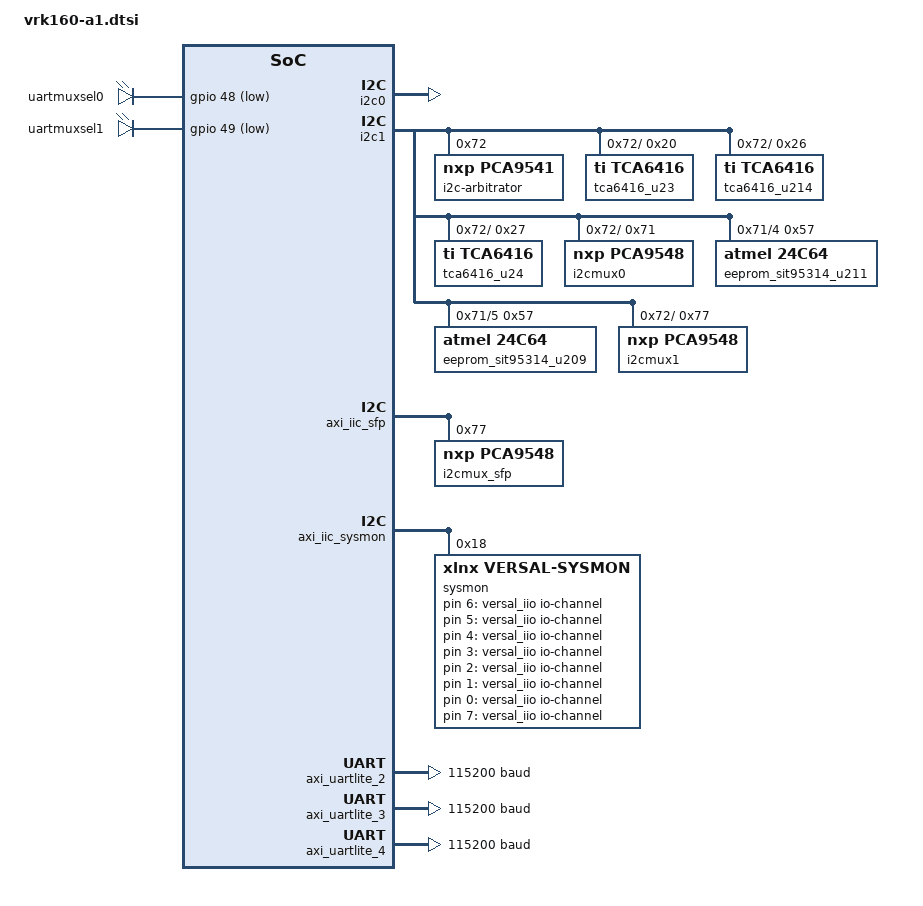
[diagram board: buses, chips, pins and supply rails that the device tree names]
// SPDX-License-Identifier: GPL-2.0
/*
 * dts file for SC on VRK160 revA (k24)
 *
 * (C) Copyright 2025, Advanced Micro Devices, Inc.
 *
 * Michal Simek <michal.simek@amd.com>
 */

/dts-v1/;
/plugin/;

&{/} {
    compatible = "xlnx,zynqmp-sc-vrk160-revA",
    	     "xlnx,zynqmp-sc-vrk160", "xlnx,zynqmp";
    model = "ZynqMP SC VRK160 revA";

	versal_iio: versal {
		compatible = "iio-hwmon";
		io-channels = <&sysmon 6>, <&sysmon 5>, <&sysmon 4>,
			      <&sysmon 3>, <&sysmon 2>, <&sysmon 1>,
			      <&sysmon 0>, <&sysmon 7>, <&sysmon 8>;
	};

	leds-um {
		compatible = "gpio-leds";
		um0-led {
			label = "uartmuxsel0";
			gpios = <&gpio 48 1>;
			default-state = "off";
		};

		um1-led {
			label = "uartmuxsel1";
			gpios = <&gpio 49 1>;
			default-state = "off";
		};
	};
};

&i2c0 { /* I2C_SCK C23/C24 - MIO 66/67 */
    status = "okay";
    /* board_i2c0 */
};

&i2c1 { /* I2C_SCK C23/C24 - MIO from SOM */
    #address-cells = <1>;
    #size-cells = <0>;

    i2c-arbitrator@72 { /* u18 */
    	compatible = "nxp,pca9541";
    	reg = <0x72>;

    	i2c-arb {
    		#address-cells = <1>;
    		#size-cells = <0>;
    		/* board_i2c1 */

    		tca6416_u23: gpio@20 { /* u23 */
    			compatible = "ti,tca6416";
    			reg = <0x20>;
    			gpio-controller; /* interrupt on MIO69 */
    			#gpio-cells = <2>;
    			gpio-line-names = "SFP_04_TX_FAULT", "SFP_04_RX_LOS", "SFP_04_MOD_ABS", "SFP_04_TX_DISABLE", /* 0 - 3 */
    					"SFP_04_RS0", "SFP_04_RS1", "", "", /* 4 - 7 */
    					"FMCP1_FMC_PRSNT_M2C_B", "FMCP1_FMCP_PRSNT_M2C_B", "PMBUS4_INA_ALERT", "PMBUS3_INA_ALERT", /* 10 - 13 */
    					"PMBUS2_INA_ALERT", "PMBUS1_INA_ALERT", "PMBUS1_NIRQ", "PMBUS1_ALERT"; /* 14 - 17 */
    		};

    		tca6416_u214: gpio@26 { /* u214 */
    			compatible = "ti,tca6416";
    			reg = <0x26>;
    			gpio-controller; /* interrupt on MIO69 */
    			#gpio-cells = <2>;
    			gpio-line-names = "SFP_02_TX_FAULT", "SFP_02_RX_LOS", "SFP_02_MOD_ABS", "SFP_02_TX_DISABLE", /* 0 - 3 */
    					"SFP_02_RS0", "SFP_02_RS1", "", "", /* 4 - 7 */
    					"SFP_03_TX_FAULT", "SFP_03_RX_LOS", "SFP_03_MOD_ABS", "SFP_03_TX_DISABLE", /* 10 - 13 */
    					"SFP_03_RS0", "SFP_03_RS1", "", ""; /* 14 - 17 */
    		};

    		tca6416_u24: gpio@27 { /* u24 */
    			compatible = "ti,tca6416";
    			reg = <0x27>;
    			gpio-controller; /* interrupt on MIO69 */
    			#gpio-cells = <2>;
    			gpio-line-names = "QSFP1_MODSELL", "QSFP1_RESETL", "QSFP1_MODPRSL", "QSFP1_INTL", /* 0 - 3 */
    					"QSFP1_LPMODE", "", "", "", /* 4 - 7 */
    					"SFP_01_TX_FAULT", "SFP_01_RX_LOS", "SFP_01_MOD_ABS", "SFP_01_TX_DISABLE", /* 10 - 13 */
    					"SFP_01_RS0", "SFP_01_RS1", "", ""; /* 14 - 17 */
    		};

    		i2cmux0: i2c-mux@71 { /* u162 */
    			compatible = "nxp,pca9548";
    			#address-cells = <1>;
    			#size-cells = <0>;
    			reg = <0x71>;
                i2c-mux-idle-disconnect;
    			i2cmux0_0: i2c@0 {
    				#address-cells = <1>;
    				#size-cells = <0>;
    				reg = <0>;
    				/* pmbus1 */
    				/* J3 connector */
    				/* u136 mpq2283 0x12 */
    				/* u146 mpq2283 0x1a */
    				/* u148 mpq2283 0x1c */
    				/* u143 mpq2285 0x1d */
    				/* u55 mpq72963 0x22 */
    				/* u31 mpq72963 0x23 */
    				/* u46 mpq72963 0x24 */
    				/* u167 ucd90320 0x77 */
    			};
    			i2cmux0_1: i2c@1 {
    				#address-cells = <1>;
    				#size-cells = <0>;
    				reg = <1>;
    				/* pmbus2 */
    				/* J4 connector */
    				/* u142 mpq2283 0x1 */
    				/* u149 mpq2285 0x2 */
    				/* u151 mpq2283 0x3 */
    				/* u152 mpq2283 0x4 */
    				/* u134 mpq2283 0x1e */
    				/* u135 mpq2283 0x1f */
    				/* u137 mpq2283 0x13 */
    				/* u138 mpq2283 0x14 */
    				/* u139 mpq2283 0x16 */
    				/* u140 mpq2283 0x17 */
    				/* u141 mpq2283 0x18 */
    				/* u145 mpq2283 0x19 */
    				/* u147 mpq2283 0x1b */
    				/* u6 mp54522 61 */
    				/* u7 mp54522 62 */
    				/* u8 mp54322 63 */
    				/* u9 mp54322 64 */
    			};
    			i2cmux0_2: i2c@2 {
    				#address-cells = <1>;
    				#size-cells = <0>;
    				reg = <2>;
    				/* pmbus1_ina */
    				/* u42 ina745a 0x40 vccint_gt_bus */
    				/* u57 ina745a 0x41 vcc_soc_bus */
    				/* u45 ina745a 0x44 lp5_vcco_1v0 */
    				/* u153 ina700a 0x45 vccaux_pmc */
    				/* u154 ina700a 0x46 vcco_50x */
    				/* u155 ina700a 0x47 vcco_io */
    				/* u37 ina745a 0x48 vccint_bus1 */
    				/* u39 ina745a 0x49 vccint_bus2 */
    				/* u38 ina745a 0x4a vccint_bus3 */
    				/* u40 ina745a 0x4b vccint_bus4 */
    				/* u41 ina745a 0x4C vccint_bus5 */
    			};
    			i2cmux0_3: i2c@3 {
    				#address-cells = <1>;
    				#size-cells = <0>;
    				reg = <3>;
    				/* pmbus2_ina */
    				/* u156 ina700a 0x44 vcc_pmc */
    				/* u157 ina700a 0x45 vcc_ram */
    				/* u157 ina700a 0x46 vccaux */
    				/* u150 ina700a 0x47 vadj_fmc */
    				/* u49 ina745a 0x48 vcc_aie_bus1 */
    				/* u50 ina745a 0x49 vcc_aie_bus2 */
    			};
    			i2cmux0_4: i2c@4 {
    				#address-cells = <1>;
    				#size-cells = <0>;
    				reg = <4>;
    				/* clkgen_sit95314_2 */
    				/* u211 sit95314 0x69 - 4 outputs */

    				eeprom_u212: eeprom@57 { /* also at 0x5f */
    					compatible = "atmel,24c64";
    					label = "eeprom_sit95314_u211";
    					reg = <0x57>;
    				};
    			};
    			i2cmux0_5: i2c@5 {
    				#address-cells = <1>;
    				#size-cells = <0>;
    				reg = <5>;
    				/* clkgen_sit95314_1 */
    				/* u209 sit95314 0x69 - 4 outputs */
    				eeprom_u210: eeprom@57 { /* also at 0x5f */
    					compatible = "atmel,24c64";
    					label = "eeprom_sit95314_u209";
    					reg = <0x57>;
    				};
    			};
    			i2cmux0_6: i2c@6 {
    				#address-cells = <1>;
    				#size-cells = <0>;
    				reg = <6>;
    				/* pmbus3_ina */
    				/* u203 ina700a 0x43 adc_avcc */
    				/* u159 ina700a 0x44 vcco_302 */
    				/* u160 ina700a 0x45 gtyp1_avccaux */
    				/* u144 ina700a 0x46 gtyp_avtt */
    				/* u133 ina700a 0x47 vcc_psfp */
    			};
    			i2cmux0_7: i2c@7 {
    				#address-cells = <1>;
    				#size-cells = <0>;
    				reg = <7>;
    				/* pmbus4_ina */
    				/* u131 ina700a 0x44 vcc_pslp */
    				/* u52 ina700a 0x45 gtm_avtt */
    				/* u54 ina700a 0x46 gtm_avcc */
    			};
    		};

    		i2cmux1: i2c-mux@77 { /* u20 */
    			compatible = "nxp,pca9548";
    			#address-cells = <1>;
    			#size-cells = <0>;
    			reg = <0x77>;
                i2c-mux-idle-disconnect;
    			i2cmux1_2: i2c@2 {
    				#address-cells = <1>;
    				#size-cells = <0>;
    				reg = <2>;
    				/* pmbus5_ina */
    				/* u228 ina700a 0x46 dac_avccaux */
    				/* u229 ina700a 0x47 adc_avccaux */
    			};
    			i2cmux1_3: i2c@3 {
    				#address-cells = <1>;
    				#size-cells = <0>;
    				reg = <3>;
    				/* pmbus6_ina */
    				/* u230 ina700a 0x44 gtm_avccaux */
    				/* u231 ina700a 0x45 dac_avtt */
    				/* u232 ina700a 0x46 gtyp_avcc */
    				/* u233 ina700a 0x47 vcco_x5io */
    			};
    			i2cmux1_4: i2c@4 {
    				#address-cells = <1>;
    				#size-cells = <0>;
    				reg = <4>;
    				/* nc */
    			};
    		};
    	};
    };
};

&zynqmp_dpsub {
    status = "disabled";
};

&fpga_full {
        firmware-name = "vrk160-a2.bin";
        resets = <&zynqmp_reset 116>;
        clocking0: clocking0 {
                #clock-cells = <0>;
                clock-frequency = <99999999>;
                assigned-clocks = <&zynqmp_clk 71>;
                clock-output-names = "fabric_clk";
                clocks = <&zynqmp_clk 71>;
                compatible = "xlnx,fclk";
        };
        afi0: afi0 {
                compatible = "xlnx,afi-fpga";
                config-afi = < 0 0>, <1 0>, <2 0>, <3 0>, <4 0>, <5 0>, <6 0>, <7 0>, <8 0>, <9 0>, <10 0>, <11 0>, <12 0>, <13 0>, <14 0xa00>, <15 0x000>;
                resets = <&zynqmp_reset 116>, <&zynqmp_reset 117>, <&zynqmp_reset 118>, <&zynqmp_reset 119>;
        };
};

&amba {
        #address-cells = <2>;
        #size-cells = <2>;
        axi_gpio_0: gpio@80020000 {
                #gpio-cells = <2>;
                #interrupt-cells = <2>;
                clock-names = "s_axi_aclk";
                clocks = <&zynqmp_clk 71>;
                compatible = "xlnx,axi-gpio-2.0", "xlnx,xps-gpio-1.00.a";
                gpio-controller ;
                interrupt-controller ;
                interrupt-names = "ip2intc_irpt";
                interrupt-parent = <&gic>;
                interrupts = <0 94 4>;
                reg = <0x0 0x80020000 0x0 0x10000>;
                xlnx,all-inputs = <0x0>;
                xlnx,all-inputs-2 = <0x0>;
                xlnx,all-outputs = <0x0>;
                xlnx,all-outputs-2 = <0x0>;
                xlnx,dout-default = <0x00000000>;
                xlnx,dout-default-2 = <0x00000000>;
                xlnx,gpio-width = <0x13>;
                xlnx,gpio2-width = <0x20>;
                xlnx,interrupt-present = <0x1>;
                xlnx,is-dual = <0x0>;
                xlnx,tri-default = <0xFFFFFFFF>;
                xlnx,tri-default-2 = <0xFFFFFFFF>;
                gpio-line-names =
                    /*  0 -  3 */ "DPL_EN", "DSYSTEM_EN", "DPFD_EN", "SYSCTRL_GPI6",
                    /*  4 -  7 */ "SYSCTRL_GPI7", "SFP_MUX_RST_B", "SYSCTRL_GPI4", "SYSCTRL_GPI5",
                    /*  8 - 11 */ "EEPROM_WP", "SYSCTRL_GPO0", "SYSCTRL_GPO1", "DAIE_EN",
                    /* 12 - 15 */ "SYSCTRL_GPO2", "SYSCTRL_GPO3", "DLPD_EN", "USB_MUX_SEL",
                    /* 16 - 18 */ "PCIE_CLK_SEL", "EFM8BB_RSTB_C2CK", "EFM8_C2D";

        };

        axi_iic_sfp: i2c@80000000 {
                #address-cells = <1>;
                #size-cells = <0>;
                clock-names = "s_axi_aclk";
                clocks = <&zynqmp_clk 71>;
                compatible = "xlnx,axi-iic-2.1", "xlnx,xps-iic-2.00.a";
                interrupt-names = "iic2intc_irpt";
                interrupt-parent = <&gic>;
                interrupts = <0 96 4>;
                reg = <0x0 0x80000000 0x0 0x10000>;
    		    i2cmux_sfp: i2c-mux@77 { /* u20 */
    		    	compatible = "nxp,pca9548";
    		    	#address-cells = <1>;
    		    	#size-cells = <0>;
    		    	reg = <0x77>;
                    i2c-mux-idle-disconnect;
    		    	i2cmux1_0: i2c@0 {
    		    		#address-cells = <1>;
    		    		#size-cells = <0>;
    		    		reg = <0>;
    		    		/* qsfp1 */
    		    	};
    		    	i2cmux1_1: i2c@1 {
    		    		#address-cells = <1>;
    		    		#size-cells = <0>;
    		    		reg = <1>;
    		    		/* sfp_04 */
    		    	};
    		    	i2cmux1_5: i2c@5 {
    		    		#address-cells = <1>;
    		    		#size-cells = <0>;
    		    		reg = <5>;
    		    		/* sfp_01 */
    		    	};
    		    	i2cmux1_6: i2c@6 {
    		    		#address-cells = <1>;
    		    		#size-cells = <0>;
    		    		reg = <6>;
    		    		/* sfp_02 */
    		    	};
    		    	i2cmux1_7: i2c@7 {
    		    		#address-cells = <1>;
    		    		#size-cells = <0>;
    		    		reg = <7>;
    		    		/* sfp_03 */
    		    	};
    		    };
        };

        axi_iic_sysmon: i2c@80060000 {
                #address-cells = <1>;
                #size-cells = <0>;
                clock-names = "s_axi_aclk";
                clocks = <&zynqmp_clk 71>;
                compatible = "xlnx,axi-iic-2.1", "xlnx,xps-iic-2.00.a";
                interrupt-names = "iic2intc_irpt";
                interrupt-parent = <&gic>;
                interrupts = <0 93 4>;
                reg = <0x0 0x80060000 0x0 0x10000>;
                sysmon: i2c@18 {
                    #address-cells = <1>;
                    #size-cells = <0>;
                    compatible = "xlnx,versal-sysmon";
                    reg = <0x18>;
                    xlnx,numchannels = [07];
                    status = "okay";
                    #io-channel-cells = <1>;
                    supply@0 {
                        reg = <0>;
                        xlnx,name = "vccaux";
                    };
                    supply@1 {
                        reg = <1>;
                        xlnx,name = "vccaux_pmc";
                    };
                    supply@2 {
                        reg = <2>;
                        xlnx,name = "vcc_pmc";
                    };
                    supply@3 {
                        reg = <3>;
                        xlnx,name = "vcc_psfp";
                    };
                    supply@4 {
                        reg = <4>;
                        xlnx,name = "vcc_pslp";
                    };
                    supply@5 {
                        reg = <5>;
                        xlnx,name = "vcc_soc";
                    };
                    supply@6 {
                        reg = <6>;
                        xlnx,name = "vp_vn";
                    };
                };
        };

        axi_uartlite_2: serial@80070000 {
                clock-names = "s_axi_aclk";
                clocks = <&zynqmp_clk 71>;
                compatible = "xlnx,axi-uartlite-2.0", "xlnx,xps-uartlite-1.00.a";
                current-speed = <115200>;
                device_type = "serial";
                interrupt-names = "interrupt";
                interrupt-parent = <&gic>;
                interrupts = <0 104 1>;
                port-number = <1>;
                reg = <0x0 0x80070000 0x0 0x10000>;
                xlnx,baudrate = <0x1c200>;
                xlnx,data-bits = <0x8>;
                xlnx,odd-parity = <0x0>;
                xlnx,s-axi-aclk-freq-hz-d = "99.999001";
                xlnx,use-parity = <0x0>;
        };

        axi_uartlite_3: serial@80050000 {
                clock-names = "s_axi_aclk";
                clocks = <&zynqmp_clk 71>;
                compatible = "xlnx,axi-uartlite-2.0", "xlnx,xps-uartlite-1.00.a";
                current-speed = <115200>;
                device_type = "serial";
                interrupt-names = "interrupt";
                interrupt-parent = <&gic>;
                interrupts = <0 91 1>;
                port-number = <2>;
                reg = <0x0 0x80050000 0x0 0x10000>;
                xlnx,baudrate = <0x1c200>;
                xlnx,data-bits = <0x8>;
                xlnx,odd-parity = <0x0>;
                xlnx,s-axi-aclk-freq-hz-d = "99.999001";
                xlnx,use-parity = <0x0>;
        };

        axi_uartlite_4: serial@80030000 {
                clock-names = "s_axi_aclk";
                clocks = <&zynqmp_clk 71>;
                compatible = "xlnx,axi-uartlite-2.0", "xlnx,xps-uartlite-1.00.a";
                current-speed = <115200>;
                device_type = "serial";
                interrupt-names = "interrupt";
                interrupt-parent = <&gic>;
                interrupts = <0 95 1>;
                port-number = <3>;
                reg = <0x0 0x80030000 0x0 0x10000>;
                xlnx,baudrate = <0x1c200>;
                xlnx,data-bits = <0x8>;
                xlnx,odd-parity = <0x0>;
                xlnx,s-axi-aclk-freq-hz-d = "99.999001";
                xlnx,use-parity = <0x0>;
        };

        debug_bridge_0: debug_bridge@80010000 {
                clock-names = "s_axi_aclk";
                clocks = <&zynqmp_clk 71>;
                compatible = "xlnx,debug-bridge-3.0", "generic-uio";
                reg = <0x0 0x80010000 0x0 0x10000>;
                xlnx,bscan-mux = <0x1>;
                xlnx,build-revision = <0x0>;
                xlnx,chip-id = <0x0>;
                xlnx,clk-input-freq-hz = <0x11e1a300>;
                xlnx,core-major-ver = <0x1>;
                xlnx,core-minor-alpha-ver = <0x61>;
                xlnx,core-minor-ver = <0x0>;
                xlnx,core-type = <0x1>;
                xlnx,dclk-has-reset = <0x0>;
                xlnx,debug-mode = <0x3>;
                xlnx,design-type = <0x0>;
                xlnx,device-family = <0x0>;
                xlnx,en-bscanid-vec = "false";
                xlnx,en-int-sim = <0x1>;
                xlnx,en-passthrough = <0x0>;
                xlnx,enable-clk-divider = "false";
                xlnx,fifo-style = "SUBCORE";
                xlnx,ir-id-instr = <0x0>;
                xlnx,ir-user1-instr = <0x0>;
                xlnx,ir-width = <0x0>;
                xlnx,major-version = <0xe>;
                xlnx,master-intf-type = <0x1>;
                xlnx,minor-version = <0x1>;
                xlnx,num-bs-master = <0x0>;
                xlnx,pcie-ext-cfg-base-addr = <0x400>;
                xlnx,pcie-ext-cfg-next-ptr = <0x000>;
                xlnx,pcie-ext-cfg-vsec-id = <0x0008>;
                xlnx,pcie-ext-cfg-vsec-length = <0x020>;
                xlnx,pcie-ext-cfg-vsec-rev-id = <0x0>;
                xlnx,tck-clock-ratio = <0x8>;
                xlnx,two-prim-mode = "false";
                xlnx,use-bufr = <0x0>;
                xlnx,use-ext-bscan = "true";
                xlnx,use-softbscan = <0x1>;
                xlnx,use-startup-clk = "false";
                xlnx,user-scan-chain = <0x1>;
                xlnx,xsdb-num-slaves = <0x0>;
                xlnx,xvc-hw-id = <0x0001>;
                xlnx,xvc-sw-id = <0x0001>;
        };

        fan_tach_0: fan_tach@80080000 {
                clock-names = "clk";
                clocks = <&zynqmp_clk 71>;
                compatible = "xlnx,fan-tach-1.0";
                interrupt-names = "interrupt_fan_fail", "interrupt_pwm_det";
                interrupt-parent = <&gic>;
                interrupts = <0 89 4 0 90 4>;
                reg = <0x0 0x80080000 0x0 0x1000 0x0 0x80081000 0x0 0x1000 0x0 0x80082000 0x0 0x1000>;
        };
};
